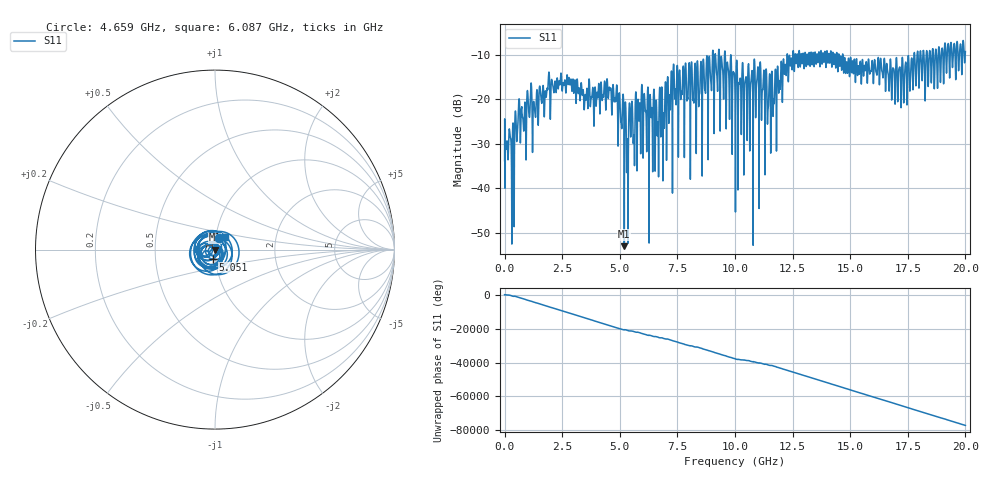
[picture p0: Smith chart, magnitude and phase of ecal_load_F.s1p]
! MS46122B
! 2250307/22442219
! 6/20/2025 7:45:14 AM
! C:\USERS\SPARKY\DOCUMENTS\VNA_DATA\JUNE20_2025\3.0K\ECAL_LOAD_F.S1P
! CHANNEL.1
! TR.MEASUREMENT
! RAW.DATA
# GHZ S RI R 50.0
! FREQ.GHZ  S11RE  S11IM
!; PortSelection: Port_1
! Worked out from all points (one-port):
!   10001 points, 1 MHz to 20 GHz, reference 50 ohm
!   lowest |S11| = -53.0 dB at 5.197 GHz (marker M1), VSWR 1.00, Z = 49.8 - j0.124 ohm
!   |S11| at or under -10 dB: start of sweep to 9.023 GHz; 9.823 GHz to 12.26 GHz (2.436 GHz wide, 22.1 % of centre); 14.68 GHz to 17.77 GHz (3.087 GHz wide, 19 % of centre) (the widest 3 of 49)
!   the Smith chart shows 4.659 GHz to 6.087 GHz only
!   S11 on the Smith chart (normalised r, x): 4.659 GHz: 1.03, +0.13; 5.051 GHz: 0.97, -0.11; 6.087 GHz: 1.11, +0.16
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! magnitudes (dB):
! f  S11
! 1 MHz  -33.8
! 341 MHz  -28.5
! 549 MHz  -28.1
! 857 MHz  -23.2
! 1.073 GHz  -24.0
! 1.283 GHz  -21.3
! 2.501 GHz  -18.1
! 4.659 GHz  -23.5
! 5.001 GHz  -20.0
! 5.051 GHz  -25.0
! 5.197 GHz  -53.0
! 5.283 GHz  -28.8
! 5.477 GHz  -28.3
! 5.557 GHz  -23.6
! 5.883 GHz  -22.3
! 6.087 GHz  -20.9
! 6.609 GHz  -24.8
! 7.501 GHz  -12.5
! 8.499 GHz  -14.0
! 9.225 GHz  -15.6
! 10 GHz  -18.0
! 10.46 GHz  -15.4
! 10.91 GHz  -19.0
! 11.48 GHz  -16.6
! 12.5 GHz  -11.0
! 15 GHz  -11.3
! 17.5 GHz  -11.5
! 20 GHz  -9.2
